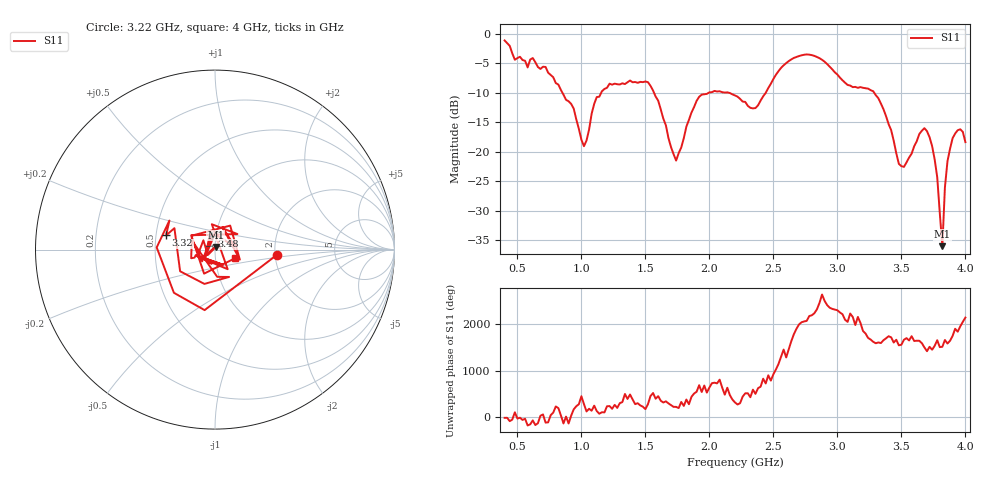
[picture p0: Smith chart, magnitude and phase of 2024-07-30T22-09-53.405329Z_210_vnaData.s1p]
!Created with skrf (http://scikit-rf.org).
# Hz S RI R 50.0
!freq ReS11 ImS11
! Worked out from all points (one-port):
!   181 points, 400 MHz to 4 GHz, reference 50 ohm
!   lowest |S11| = -36.0 dB at 3.82 GHz (marker M1), VSWR 1.03, Z = 50.5 + j1.52 ohm
!   |S11| at or under -10 dB: 851.4 MHz to 1.155 GHz (303.5 MHz wide, 30.3 % of centre); 1.567 GHz to 1.996 GHz (429 MHz wide, 24.1 % of centre); 3.287 GHz to end of sweep (the widest 3 of 4)
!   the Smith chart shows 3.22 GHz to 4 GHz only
!   S11 on the Smith chart (normalised r, x): 3.22 GHz: 2.04, -0.14; 3.32 GHz: 0.57, +0.10; 3.48 GHz: 0.95, +0.15; 4 GHz: 1.24, -0.12
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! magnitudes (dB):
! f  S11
! 400 MHz  -1.1
! 720 MHz  -5.6
! 860 MHz  -10.3
! 940 MHz  -12.7
! 1.02 GHz  -19.1
! 1.12 GHz  -10.7
! 1.3 GHz  -8.6
! 1.52 GHz  -8.2
! 1.74 GHz  -21.5
! 1.76 GHz  -20.2
! 1.92 GHz  -10.7
! 2.2 GHz  -10.5
! 2.36 GHz  -12.6
! 2.66 GHz  -4.1
! 2.86 GHz  -4.1
! 3.1 GHz  -8.8
! 3.22 GHz  -9.2
! 3.32 GHz  -10.9
! 3.48 GHz  -22.1
! 3.56 GHz  -21.0
! 3.66 GHz  -16.5
! 3.72 GHz  -17.5
! 3.78 GHz  -24.3
! 3.82 GHz  -36.0
! 3.84 GHz  -26.1
! 3.88 GHz  -19.5
! 3.94 GHz  -16.4
! 4 GHz  -18.4
